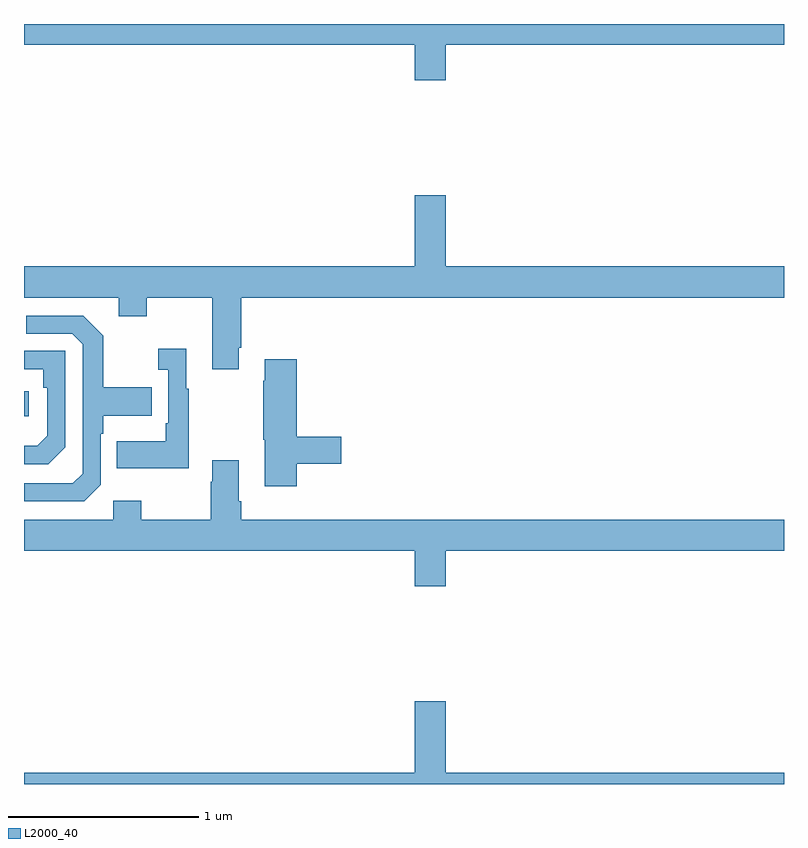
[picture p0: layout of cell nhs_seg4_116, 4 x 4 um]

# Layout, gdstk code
import gdstk
lib = gdstk.Library(unit=1e-6, precision=1e-09)
def R(c, l, rs):  # rectangles x0, y0, x1, y1
    for r in rs: c.add(gdstk.rectangle(r[:2], r[2:], *l))
def P(c, l, *ps):  # polygons
    for p in ps: c.add(gdstk.Polygon(p, *l))
L2000_40 = (2000, 40)

nhs_seg4_116 = lib.new_cell('nhs_seg4_116')
R(nhs_seg4_116, L2000_40, [(115,822.836,115.024,822.966)])
P(nhs_seg4_116, L2000_40, [(117.22,824.792),(119,824.792),(119,824.9),(115,824.9),(115,824.792),(117.056,824.792),(117.056,824.604),(117.22,824.604)],
  [(116.131,823.195),(116.144,823.195),(116.144,823.46),(119,823.46),(119,823.624),(117.22,823.624),(117.22,823.999),(117.056,823.999),(117.056,823.624),(115,823.624),(115,823.46),(115.499,823.46),(115.499,823.361),(115.647,823.361),(115.647,823.46),(115.991,823.46),(115.991,823.083),(116.131,823.083)],
  [(115.404,822.474),(115.404,822.743),(115.417,822.743),(115.417,822.839),(115.673,822.839),(115.673,822.987),(115.417,822.987),(115.417,823.259),(115.311,823.365),(115.011,823.365),(115.011,823.269),(115.254,823.269),(115.308,823.215),(115.308,822.534),(115.257,822.483),(115,822.483),(115,822.387),(115.317,822.387)],
  [(115.867,822.979),(115.855,822.979),(115.855,823.192),(115.707,823.192),(115.707,823.079),(115.758,823.079),(115.758,822.799),(115.746,822.799),(115.746,822.703),(115.489,822.703),(115.489,822.563),(115.867,822.563)],
  [(115.218,822.672),(115.218,823.179),(115,823.179),(115,823.083),(115.102,823.083),(115.102,822.986),(115.122,822.986),(115.122,822.732),(115.069,822.679),(115,822.679),(115,822.582),(115.128,822.582)],
  [(116.435,822.586),(116.671,822.586),(116.671,822.728),(116.435,822.728),(116.435,823.135),(116.267,823.135),(116.267,823.022),(116.26,823.022),(116.26,822.711),(116.267,822.711),(116.267,822.468),(116.435,822.468)],
  [(117.22,822.128),(119,822.128),(119,822.292),(116.144,822.292),(116.144,822.388),(116.131,822.388),(116.131,822.604),(115.991,822.604),(115.991,822.491),(115.984,822.491),(115.984,822.292),(115.617,822.292),(115.617,822.391),(115.47,822.391),(115.47,822.292),(115,822.292),(115,822.128),(117.056,822.128),(117.056,821.94),(117.22,821.94)],
  [(119,820.96),(117.22,820.96),(117.22,821.335),(117.056,821.335),(117.056,820.96),(115,820.96),(115,820.9),(119,820.9)])

lib.write_gds('nhs_seg4_116.gds')
